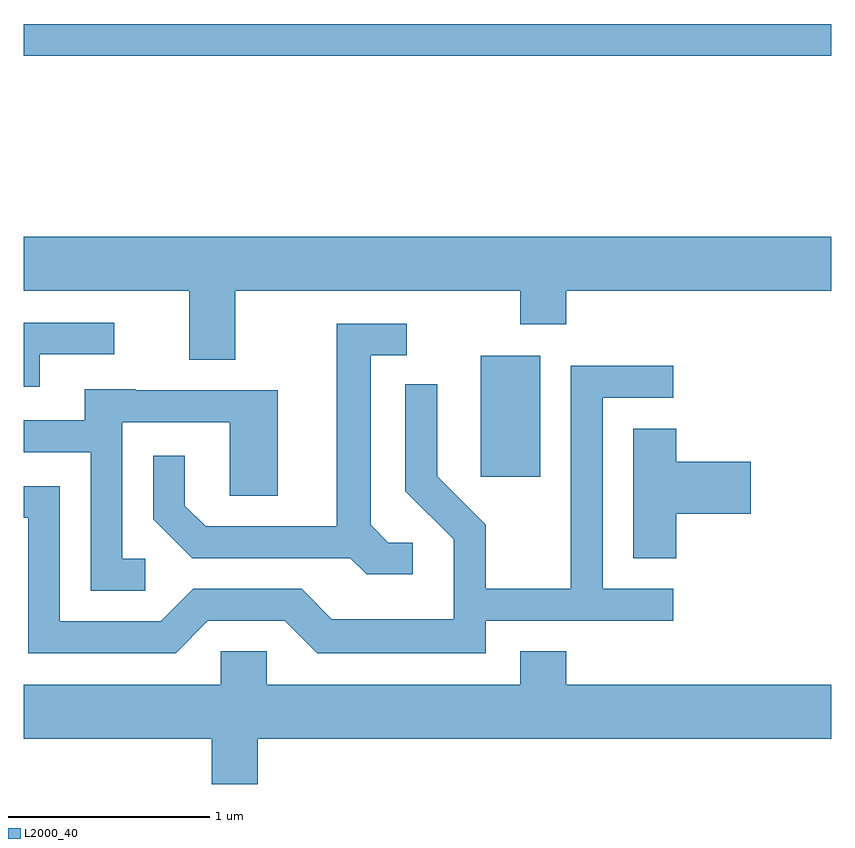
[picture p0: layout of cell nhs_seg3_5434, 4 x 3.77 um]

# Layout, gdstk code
import gdstk
lib = gdstk.Library(unit=1e-6, precision=1e-09)
def R(c, l, rs):  # rectangles x0, y0, x1, y1
    for r in rs: c.add(gdstk.rectangle(r[:2], r[2:], *l))
def P(c, l, *ps):  # polygons
    for p in ps: c.add(gdstk.Polygon(p, *l))
L2000_40 = (2000, 40)

nhs_seg3_5434 = lib.new_cell('nhs_seg3_5434')
R(nhs_seg3_5434, L2000_40, [(345.876,1249.416,346.169,1250.014), (343.611,1251.501,347.611,1251.659)])
P(nhs_seg3_5434, L2000_40, [(344.659,1250.336),(346.071,1250.336),(346.071,1250.171),(346.299,1250.171),(346.299,1250.336),(347.611,1250.336),(347.611,1250.604),(343.611,1250.604),(343.611,1250.336),(344.431,1250.336),(344.431,1249.996),(344.659,1249.996)],
  [(343.689,1250.021),(344.058,1250.021),(344.058,1250.179),(343.611,1250.179),(343.611,1249.861),(343.689,1249.861)],
  [(345.538,1249.089),(345.417,1249.089),(345.329,1249.177),(345.329,1250.016),(345.508,1250.016),(345.508,1250.174),(345.161,1250.174),(345.161,1249.169),(344.512,1249.169),(344.409,1249.272),(344.409,1249.518),(344.251,1249.518),(344.251,1249.204),(344.444,1249.011),(345.229,1249.011),(345.309,1248.931),(345.538,1248.931)],
  [(344.522,1248.701),(344.904,1248.701),(345.064,1248.541),(345.899,1248.541),(345.899,1248.701),(346.828,1248.701),(346.828,1248.859),(346.479,1248.859),(346.479,1249.806),(346.828,1249.806),(346.828,1249.964),(346.321,1249.964),(346.321,1248.859),(345.899,1248.859),(345.899,1249.177),(345.659,1249.417),(345.659,1249.873),(345.501,1249.873),(345.501,1249.344),(345.741,1249.104),(345.741,1248.709),(345.137,1248.709),(344.987,1248.859),(344.449,1248.859),(344.289,1248.699),(343.789,1248.699),(343.789,1249.369),(343.611,1249.369),(343.611,1249.211),(343.631,1249.211),(343.631,1248.541),(344.362,1248.541)],
  [(344.213,1249.009),(344.099,1249.009),(344.099,1249.686),(344.631,1249.686),(344.631,1249.321),(344.869,1249.321),(344.869,1249.844),(344.165,1249.844),(344.165,1249.849),(343.911,1249.849),(343.911,1249.694),(343.611,1249.694),(343.611,1249.536),(343.941,1249.536),(343.941,1248.851),(344.213,1248.851)],
  [(346.844,1249.231),(347.214,1249.231),(347.214,1249.489),(346.844,1249.489),(346.844,1249.654),(346.631,1249.654),(346.631,1249.011),(346.844,1249.011)],
  [(344.769,1248.116),(347.611,1248.116),(347.611,1248.384),(346.299,1248.384),(346.299,1248.549),(346.071,1248.549),(346.071,1248.384),(344.814,1248.384),(344.814,1248.549),(344.586,1248.549),(344.586,1248.384),(343.611,1248.384),(343.611,1248.116),(344.541,1248.116),(344.541,1247.892),(344.769,1247.892)])

lib.write_gds('nhs_seg3_5434.gds')
